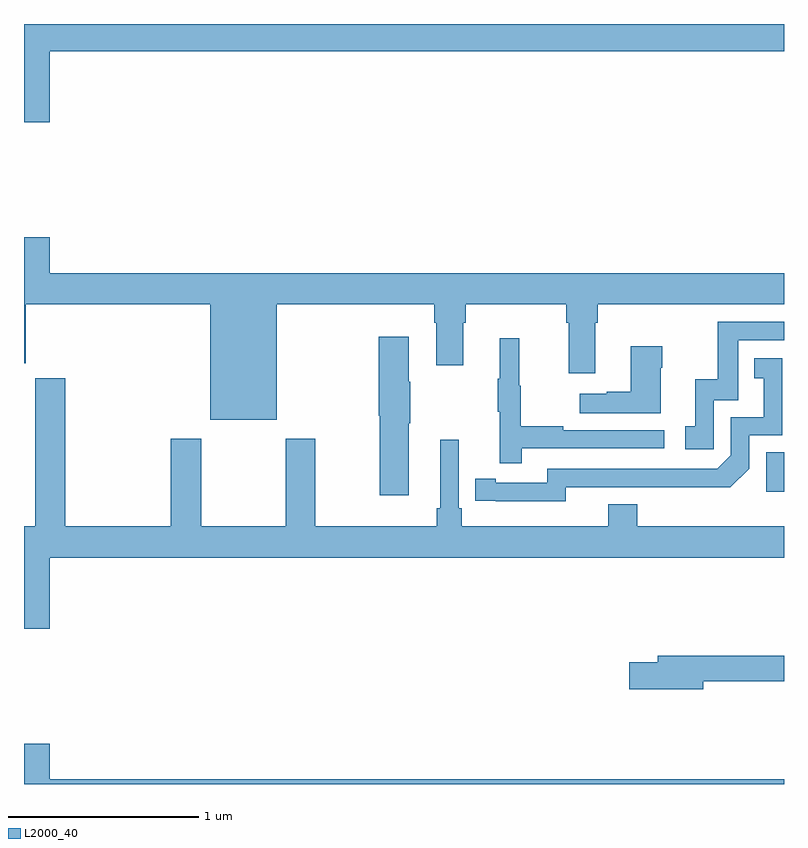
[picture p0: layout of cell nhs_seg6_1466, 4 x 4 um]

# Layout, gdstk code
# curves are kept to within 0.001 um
import gdstk
lib = gdstk.Library(unit=1e-6, precision=1e-09)
def R(c, l, rs):  # rectangles x0, y0, x1, y1
    for r in rs: c.add(gdstk.rectangle(r[:2], r[2:], *l))
def P(c, l, *ps):  # polygons
    for p in ps: c.add(gdstk.Polygon(p, *l))
L2000_40 = (2000, 40)

nhs_seg6_1466 = lib.new_cell('nhs_seg6_1466')
R(nhs_seg6_1466, L2000_40, [(204.906,925.038,205,925.245)])
P(nhs_seg6_1466, L2000_40, [(205,927.5),(201,927.5),(201,926.982),(201.136,926.982),(201.136,927.356),(205,927.356)],
  [(202.33,926.024),(203.159,926.024),(203.159,925.928),(203.171,925.928),(203.171,925.704),(203.311,925.704),(203.311,925.928),(203.324,925.928),(203.324,926.024),(203.855,926.024),(203.855,925.928),(203.867,925.928),(203.867,925.662),(204.007,925.662),(204.007,925.928),(204.02,925.928),(204.02,926.024),(205,926.024),(205,926.188),(201.136,926.188),(201.136,926.377),(201,926.377),(201,925.715),(201.01,925.715),(201.01,926.024),(201.98,926.024),(201.98,925.418),(202.33,925.418)],
  [(204.63,925.521),(204.759,925.521),(204.759,925.836),(205,925.836),(205,925.932),(204.651,925.932),(204.651,925.63),(204.533,925.63),(204.533,925.383),(204.48,925.383),(204.48,925.263),(204.63,925.263)],
  [(203.026,925.399),(203.034,925.399),(203.034,925.616),(203.026,925.616),(203.026,925.855),(202.868,925.855),(202.868,925.437),(202.873,925.437),(202.873,925.02),(203.026,925.02)],
  [(203.621,925.266),(204.37,925.266),(204.37,925.362),(203.837,925.362),(203.837,925.382),(203.614,925.382),(203.614,925.596),(203.606,925.596),(203.606,925.846),(203.504,925.846),(203.504,925.633),(203.493,925.633),(203.493,925.459),(203.504,925.459),(203.504,925.188),(203.621,925.188)],
  [(204.352,925.691),(204.36,925.691),(204.36,925.804),(204.194,925.804),(204.194,925.565),(204.068,925.565),(204.068,925.555),(203.925,925.555),(203.925,925.451),(204.352,925.451)],
  [(203.85,925.062),(204.718,925.061),(204.816,925.158),(204.816,925.335),(204.99,925.335),(204.99,925.741),(204.844,925.741),(204.844,925.635),(204.893,925.635),(204.893,925.431),(204.72,925.431),(204.72,925.23),(204.648,925.158),(203.754,925.158),(203.754,925.086),(203.482,925.086),(203.482,925.106),(203.374,925.106),(203.374,924.99),(203.85,924.989)],
  [(201.136,924.692),(205,924.692),(205,924.856),(204.227,924.856),(204.227,924.973),(204.074,924.973),(204.074,924.856),(203.303,924.856),(203.303,924.952),(203.289,924.952),(203.289,925.312),(203.192,925.312),(203.192,924.952),(203.173,924.952),(203.173,924.856),(202.533,924.856),(202.533,925.318),(202.378,925.318),(202.378,924.856),(201.933,924.856),(201.933,925.318),(201.773,925.318),(201.773,924.856),(201.218,924.856),(201.218,925.636),(201.058,925.636),(201.058,924.856),(201,924.856),(201,924.318),(201.136,924.318)],
  [(204.574,924.04),(205,924.04),(205,924.176),(204.335,924.176),(204.335,924.14),(204.186,924.14),(204.186,923.998),(204.574,923.998)],
  [(205,923.524),(201.136,923.524),(201.136,923.713),(201,923.713),(201,923.5),(205,923.5)])

lib.write_gds('nhs_seg6_1466.gds')
